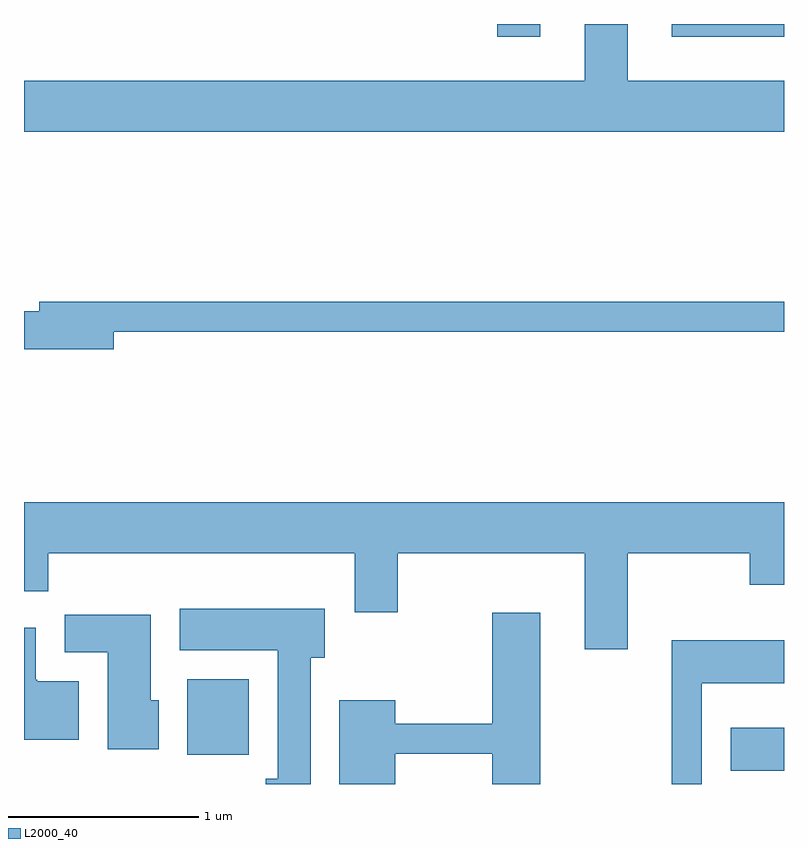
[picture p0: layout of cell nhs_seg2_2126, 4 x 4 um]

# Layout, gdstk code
import gdstk
lib = gdstk.Library(unit=1e-6, precision=1e-09)
def R(c, l, rs):  # rectangles x0, y0, x1, y1
    for r in rs: c.add(gdstk.rectangle(r[:2], r[2:], *l))
def P(c, l, *ps):  # polygons
    for p in ps: c.add(gdstk.Polygon(p, *l))
L2000_40 = (2000, 40)

nhs_seg2_2126 = lib.new_cell('nhs_seg2_2126')
R(nhs_seg2_2126, L2000_40, [(251.331,1013.871,251.611,1014.099), (248.471,1013.956,248.794,1014.354), (250.101,1017.736,250.329,1017.802), (251.021,1017.736,251.611,1017.802)])
P(nhs_seg2_2126, L2000_40, [(251.611,1017.504),(250.789,1017.504),(250.789,1017.802),(250.561,1017.802),(250.561,1017.504),(247.611,1017.504),(247.611,1017.236),(251.611,1017.236)],
  [(248.084,1016.181),(251.611,1016.181),(251.611,1016.339),(247.691,1016.339),(247.691,1016.289),(247.611,1016.289),(247.611,1016.091),(248.084,1016.091)],
  [(250.789,1015.016),(251.431,1015.016),(251.431,1014.851),(251.611,1014.851),(251.611,1015.284),(247.611,1015.284),(247.611,1014.816),(247.739,1014.816),(247.739,1015.016),(249.351,1015.016),(249.351,1014.706),(249.579,1014.706),(249.579,1015.016),(250.561,1015.016),(250.561,1014.511),(250.789,1014.511)],
  [(249.119,1014.466),(249.194,1014.466),(249.194,1014.724),(248.431,1014.724),(248.431,1014.506),(248.946,1014.506),(248.946,1013.829),(248.883,1013.829),(248.883,1013.802),(249.119,1013.802)],
  [(249.564,1013.961),(250.076,1013.961),(250.076,1013.802),(250.329,1013.802),(250.329,1014.704),(250.076,1014.704),(250.076,1014.119),(249.564,1014.119),(249.564,1014.244),(249.271,1014.244),(249.271,1013.802),(249.564,1013.802)],
  [(248.319,1014.244),(248.279,1014.244),(248.279,1014.694),(247.826,1014.694),(247.826,1014.496),(248.051,1014.496),(248.051,1013.986),(248.319,1013.986)],
  [(247.899,1014.344),(247.68,1014.344),(247.68,1014.35),(247.674,1014.35),(247.674,1014.624),(247.611,1014.624),(247.611,1014.036),(247.899,1014.036)],
  [(251.179,1014.331),(251.611,1014.331),(251.611,1014.559),(251.021,1014.559),(251.021,1013.802),(251.179,1013.802)])

lib.write_gds('nhs_seg2_2126.gds')
